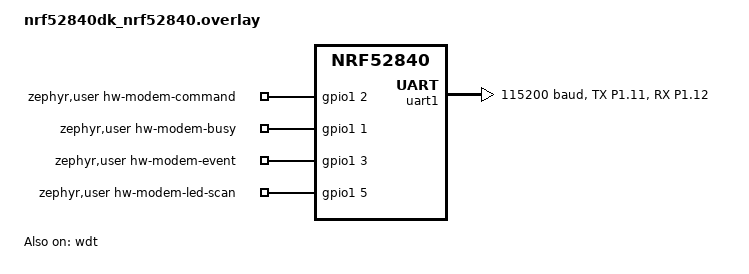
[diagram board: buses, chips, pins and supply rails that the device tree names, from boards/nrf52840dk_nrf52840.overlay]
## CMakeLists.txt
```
# Copyright (c) 2024 Semtech Corporation
# SPDX-License-Identifier: Apache-2.0

cmake_minimum_required(VERSION 3.13.1)

find_package(Zephyr REQUIRED HINTS $ENV{ZEPHYR_BASE})
project(lorawan_hw_modem)

add_subdirectory(src)
```

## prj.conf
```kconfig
# Copyright (c) 2024 Semtech Corporation
# SPDX-License-Identifier: Apache-2.0

CONFIG_USE_SEGGER_RTT=n

# ------------------------------ General configuration -------------------------

# stack size (Zephyr boilerplate + 2048 required by Semtech)
CONFIG_MAIN_STACK_SIZE=4096

# some opereations will be triggered from the system workq, so match above stack size
CONFIG_SYSTEM_WORKQUEUE_STACK_SIZE=4096

# heap size
CONFIG_HEAP_MEM_POOL_SIZE=4096

CONFIG_LOG=y
CONFIG_LOG_BACKEND_UART=y
CONFIG_LOG_BUFFER_SIZE=4096

CONFIG_TEST_RANDOM_GENERATOR=y

CONFIG_SERIAL=y
CONFIG_UART_INTERRUPT_DRIVEN=y

CONFIG_FLASH=y

# ------------------------------ Transceiver driver ----------------------------

CONFIG_LORA_BASICS_MODEM_DRIVERS=y
CONFIG_LORA_BASICS_MODEM_DRIVERS_EVENT_TRIGGER_GLOBAL_THREAD=y

CONFIG_REBOOT=y

# ------------------------------ LoRa Basics Modem -----------------------------

CONFIG_LORA_BASICS_MODEM=y

CONFIG_LORA_BASICS_MODEM_RP2_103=y
CONFIG_LORA_BASICS_MODEM_ENABLE_ALL_REGIONS=y

CONFIG_LORA_BASICS_MODEM_CRYPTOGRAPHY_SOFT=n

CONFIG_LORA_BASICS_MODEM_CLASS_B=y
CONFIG_LORA_BASICS_MODEM_CLASS_C=y
CONFIG_LORA_BASICS_MODEM_MULTICAST=y
CONFIG_LORA_BASICS_MODEM_CSMA=y

CONFIG_LORA_BASICS_MODEM_ALC_SYNC=y
CONFIG_LORA_BASICS_MODEM_ALC_SYNC_V2=y

CONFIG_LORA_BASICS_MODEM_FUOTA=y
CONFIG_LORA_BASICS_MODEM_FUOTA_V1=y
CONFIG_LORA_BASICS_MODEM_FUOTA_FMP=y
CONFIG_LORA_BASICS_MODEM_FUOTA_MPA=y

CONFIG_LORA_BASICS_MODEM_ALMANAC=y
CONFIG_LORA_BASICS_MODEM_STREAM=y
CONFIG_LORA_BASICS_MODEM_LFU=y
CONFIG_LORA_BASICS_MODEM_DEVICE_MANAGEMENT=y
CONFIG_LORA_BASICS_MODEM_GEOLOCATION=y
CONFIG_LORA_BASICS_MODEM_STORE_AND_FORWARD=y
# CONFIG_LORA_BASICS_MODEM_BEACON_TX=y
CONFIG_LORA_BASICS_MODEM_RELAY_RX=y
CONFIG_LORA_BASICS_MODEM_RELAY_TX=y
```

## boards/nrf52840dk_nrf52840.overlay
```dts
/*
 * Copyright (c) 2024 Semtech Corporation
 *
 * SPDX-License-Identifier: Apache-2.0
 */

/ {
	zephyr,user {
		/* PINS used for the HW modem sample. */
		hw-modem-command-gpios = <&gpio1 2 (GPIO_ACTIVE_HIGH | GPIO_PULL_UP)>;
		hw-modem-busy-gpios = <&gpio1 1 GPIO_ACTIVE_HIGH>;
		hw-modem-event-gpios = <&gpio1 3 GPIO_ACTIVE_HIGH>;
		hw-modem-led-scan-gpios = <&gpio1 5 GPIO_ACTIVE_HIGH>;
	};

	aliases {
		/* Specify which UART is used for communication as input for the hw modem tester */
		smtc-hal-uart = &uart1;
		smtc-watchdog = &wdt;
	};
};

&spi1 {
	status = "disabled";
};
&qspi {
	status = "disabled";
};

&uart1 {
	status = "okay";

	current-speed = <115200>;

	pinctrl-0 = <&uart1_default_alt>;
	pinctrl-1 = <&uart1_sleep_alt>;
	pinctrl-names = "default", "sleep";
	/delete-property/ hw-flow-control;
};

&pinctrl {
	uart1_default_alt: uart1_default_alt {
		group1 {
			psels = <NRF_PSEL(UART_TX, 1, 11)>, <NRF_PSEL(UART_RX, 1, 12)>;
		};
	};

	uart1_sleep_alt: uart1_sleep_alt {
		group1 {
			psels = <NRF_PSEL(UART_TX, 1, 11)>, <NRF_PSEL(UART_RX, 1, 12)>;
			low-power-enable;
		};
	};
};

&wdt {
	status = "okay";
};
```

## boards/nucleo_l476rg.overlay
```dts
/*
 * Copyright (c) 2024 Semtech Corporation
 *
 * SPDX-License-Identifier: Apache-2.0
 */

/ {
	zephyr,user {
		/* PINS used for the HW modem sample. */
		hw-modem-command-gpios = <&gpioc 6 (GPIO_ACTIVE_HIGH | GPIO_PULL_UP)>;
		hw-modem-busy-gpios = <&gpioc 8 GPIO_ACTIVE_HIGH>;
		hw-modem-event-gpios = <&gpioc 5 GPIO_ACTIVE_HIGH>;
		hw-modem-led-scan-gpios = <&gpiob 5 GPIO_ACTIVE_HIGH>;
	};

	aliases {
		/* Specify which UART is used for communication as input for the hw modem tester */
		smtc-hal-uart = &usart3;
		smtc-watchdog = &iwdg;
	};
};

&spi3 {
	status = "disabled";
};

&usart3 {
	status = "okay";

	current-speed = <115200>;

	pinctrl-0 = <&usart3_rx_pc11 &usart3_tx_pc10>;
	pinctrl-names = "default";
	/delete-property/ hw-flow-control;
};

&iwdg {
	status = "disabled";
};
```

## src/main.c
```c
/*
 * Copyright (c) 2024 Semtech Corporation
 *
 * SPDX-License-Identifier: Apache-2.0
 */

#include <stdbool.h>
#include <stdint.h>
#include <zephyr/kernel.h>
#include <zephyr/irq.h>
#include <zephyr/logging/log.h>

#include <zephyr/lorawan_lbm/lorawan_hal_init.h>
#include <smtc_modem_utilities.h>

#include "hw_modem.h"
#include "cmd_parser.h"
#include "git_version.h"

LOG_MODULE_REGISTER(hw_modem, 3);

/**
 * @brief Watchdog counter reload value during sleep (The period must be lower than MCU watchdog
 * period (here 32s))
 */
#define WATCHDOG_RELOAD_PERIOD_MS 20000

/* lr11xx radio context and its use in the ralf layer */
static const struct device *transceiver = DEVICE_DT_GET(DT_ALIAS(lora_transceiver));

/**
 * @brief Callback for modem hal
 */
static uint8_t prv_get_battery_level_cb(void)
{
	return 98;
}

/**
 * @brief Callback for modem hal
 */
static uint16_t prv_get_battery_voltage_cb(void)
{
	return 3300;
}

/**
 * @brief Callback for modem hal
 */
static int8_t prv_get_temperature_cb(void)
{
	return 25;
}

#ifdef CONFIG_LORA_BASICS_MODEM_FUOTA
static uint32_t prv_get_hw_version_for_fuota(void)
{
	return 1;
}

static uint32_t prv_get_fw_version_for_fuota(void)
{
	return 1;
}

static uint8_t prv_get_fw_status_available_for_fuota(void)
{
	return 1;
}

static uint32_t prv_get_next_fw_version_for_fuota(void)
{
	return 1;
}

static uint8_t prv_get_fw_delete_status_for_fuota(uint32_t version)
{
	return 0;
}

/* Callbacks for HAL implementation */
static struct lorawan_fuota_cb prv_fuota_cb = {
	.get_hw_version = prv_get_hw_version_for_fuota,
	.get_fw_version = prv_get_fw_version_for_fuota,
	.get_fw_status_available = prv_get_fw_status_available_for_fuota,
	.get_next_fw_version = prv_get_next_fw_version_for_fuota,
	.get_fw_delete_status = prv_get_fw_delete_status_for_fuota,
};

#endif /* CONFIG_LORA_BASICS_MODEM_FUOTA */

void main_hw_modem(void);

int main(void)
{
	unsigned int irq_lock_key;
	uint32_t sleep_time_ms = 0;
	bool is_sleep_ok;

	smtc_modem_set_radio_context(transceiver);
	lorawan_smtc_modem_hal_init(transceiver);
	lorawan_register_battery_level_callback(prv_get_battery_level_cb);
	lorawan_register_battery_voltage_callback(prv_get_battery_voltage_cb);
	lorawan_register_temperature_callback(prv_get_temperature_cb);
#ifdef CONFIG_LORA_BASICS_MODEM_FUOTA
	lorawan_register_fuota_callbacks(&prv_fuota_cb);
#endif

	cmd_parser_set_transceiver_context((void *)transceiver);

	/* NOTE: watchdogs aren't fully implemented in those samples. */
	/* hal_watchdog_init(); */

	if (hw_modem_init()) {
		LOG_ERR("Could not initialize hardware modem, exiting.");
		return 0;
	}

	LOG_INF("Modem is starting");
	LOG_DBG("Commit SHA1: %s", get_software_git_commit());
	LOG_DBG("Commit date: %s", get_software_git_date());
	LOG_DBG("Build date: %s", get_software_build_date());

	while (1) {
		/* Check if a command is available */
		if (hw_modem_is_a_cmd_available() == true) {
			/* Command may generate work for the stack, so drop down to
			 * smtc_modem_run_engine().
			 */
			hw_modem_process_cmd();
		}

		/* Modem process launch */
		sleep_time_ms = smtc_modem_run_engine();

		/* Check sleep conditions (no command available and low power is possible) */
		irq_lock_key = irq_lock();
		is_sleep_ok = (hw_modem_is_a_cmd_available() == false) &&
			      (hw_modem_is_low_power_ok() == true) &&
			      (smtc_modem_is_irq_flag_pending() == false);
		irq_unlock(irq_lock_key);

		if (is_sleep_ok) {
			uint32_t real_sleep_time_ms = MIN(sleep_time_ms, WATCHDOG_RELOAD_PERIOD_MS);

			LOG_DBG("Sleeping for %d ms", real_sleep_time_ms);
			smtc_modem_hal_interruptible_msleep(K_MSEC(real_sleep_time_ms));
		}
	}
	return 0;
}
```

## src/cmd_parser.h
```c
/*
 * Copyright (c) 2024 Semtech Corporation
 *
 * SPDX-License-Identifier: Apache-2.0
 */

#ifndef CMD_PARSER_H__
#define CMD_PARSER_H__

#include <stdint.h>

#include "smtc_modem_api.h"

#ifdef __cplusplus
extern "C" {
#endif

/**
 * @brief Host command opcode definition
 */
typedef enum host_cmd_id_e {
	CMD_RESET = 0x00,
	CMD_SET_REGION = 0x01,
	CMD_GET_REGION = 0x02,
	CMD_JOIN_NETWORK = 0x03,
	CMD_REQUEST_UPLINK = 0x04,
	CMD_GET_EVENT = 0x05,
	CMD_GET_DOWNLINK_DATA = 0x06,
	CMD_GET_DOWNLINK_METADATA = 0x07,
	CMD_GET_JOIN_EUI = 0x08,
	CMD_SET_JOIN_EUI = 0x09,
	CMD_GET_DEV_EUI = 0x0A,
	CMD_SET_DEV_EUI = 0x0B,
	CMD_SET_NWKKEY = 0x0C,
	CMD_GET_PIN = 0x0D,
	CMD_GET_CHIP_EUI = 0x0E,
	CMD_DERIVE_KEYS = 0x0F,
	CMD_GET_MODEM_VERSION = 0x10,
	CMD_LORAWAN_GET_LOST_CONNECTION_COUNTER = 0x11,
	CMD_SET_CERTIFICATION_MODE = 0x12,
	CMD_EMERGENCY_UPLINK = 0x13,
	CMD_REQUEST_EMPTY_UPLINK = 0x14,
	CMD_LEAVE_NETWORK = 0x15,
	CMD_ALARM_START_TIMER = 0x16,
	CMD_ALARM_CLEAR_TIMER = 0x17,
	CMD_ALARM_GET_REMAINING_TIME = 0x18,
	CMD_GET_NEXT_TX_MAX_PAYLOAD = 0x19,
	CMD_GET_DUTY_CYCLE_STATUS = 0x1A,
	CMD_SET_NETWORK_TYPE = 0x1B,
	CMD_SET_JOIN_DR_DISTRIBUTION = 0x1C,
	CMD_SET_ADR_PROFILE = 0x1D,
	CMD_SET_NB_TRANS = 0x1E,
	CMD_GET_NB_TRANS = 0x1F,
	CMD_GET_ENABLED_DATARATE = 0x20,
	CMD_SET_ADR_ACK_LIMIT_DELAY = 0x21,
	CMD_GET_ADR_ACK_LIMIT_DELAY = 0x22,
	CMD_SET_CRYSTAL_ERR = 0x23,
	CMD_LBT_SET_PARAMS = 0x24,
	CMD_LBT_GET_PARAMS = 0x25,
	CMD_LBT_SET_STATE = 0x26,
	CMD_LBT_GET_STATE = 0x27,
	CMD_GET_CHARGE = 0x28,
	CMD_RESET_CHARGE = 0x29,
	CMD_SET_CLASS = 0x2A,
	CMD_CLASS_B_SET_PING_SLOT_PERIODICITY = 0x2B,
	CMD_CLASS_B_GET_PING_SLOT_PERIODICITY = 0x2C,
	CMD_MULTICAST_SET_GROUP_CONFIG = 0x2D,
	CMD_MULTICAST_GET_GROUP_CONFIG = 0x2E,
	CMD_MULTICAST_CLASS_C_START_SESSION = 0x2F,
	CMD_MULTICAST_CLASS_C_GET_SESSION_STATUS = 0x30,
	CMD_MULTICAST_CLASS_C_STOP_SESSION = 0x31,
	CMD_MULTICAST_CLASS_C_STOP_ALL_SESSIONS = 0x32,
	CMD_MULTICAST_CLASS_B_START_SESSION = 0x33,
	CMD_MULTICAST_CLASS_B_GET_SESSION_STATUS = 0x34,
	CMD_MULTICAST_CLASS_B_STOP_SESSION = 0x35,
	CMD_MULTICAST_CLASS_B_STOP_ALL_SESSIONS = 0x36,
	CMD_START_ALCSYNC_SERVICE = 0x37,
	CMD_STOP_ALCSYNC_SERVICE = 0x38,
	CMD_GET_ALCSYNC_TIME = 0x39,
	CMD_TRIG_ALCSYNC_REQUEST = 0x3A,
	CMD_LORAWAN_MAC_REQUEST = 0x3B,
	CMD_GET_LORAWAN_TIME = 0x3C,
	CMD_GET_LINK_CHECK_DATA = 0x3D,
	CMD_SET_DUTY_CYCLE_STATE = 0x3E,
	CMD_DEBUG_CONNECT_WITH_ABP = 0x3F,
	CMD_TEST = 0x40,
	CMD_SET_TX_POWER_OFFSET = 0x41,
	CMD_GET_TX_POWER_OFFSET = 0x42,
	CMD_CSMA_SET_STATE = 0x43,
	CMD_CSMA_GET_STATE = 0x44,
	CMD_CSMA_SET_PARAMETERS = 0x45,
	CMD_CSMA_GET_PARAMETERS = 0x46,
	CMD_STREAM_INIT = 0x47,
	CMD_STREAM_ADD_DATA = 0x48,
	CMD_STREAM_STATUS = 0x49,
	CMD_LFU_INIT = 0x4A,
	CMD_LFU_DATA = 0x4B,
	CMD_LFU_START = 0x4C,
	CMD_LFU_RESET = 0x4D,
	CMD_DM_ENABLE = 0x4E,
	CMD_DM_GET_PORT = 0x4F,
	CMD_DM_SET_PORT = 0x50,
	CMD_DM_GET_INFO_INTERVAL = 0x51,
	CMD_DM_SET_INFO_INTERVAL = 0x52,
	CMD_DM_GET_PERIODIC_INFO_FIELDS = 0x53,
	CMD_DM_SET_PERIODIC_INFO_FIELDS = 0x54,
	CMD_DM_REQUEST_IMMEDIATE_INFO_FIELDS = 0x55,
	CMD_DM_SET_USER_DATA = 0x56,
	CMD_DM_GET_USER_DATA = 0x57,
	CMD_GET_STATUS = 0x58,
	CMD_SUSPEND_RADIO_COMMUNICATIONS = 0x59,
	CMD_DM_HANDLE_ALCSYNC = 0x5A,
	CMD_SET_APPKEY = 0x5B,
	CMD_GET_ADR_PROFILE = 0x5C,
	CMD_GET_CERTIFICATION_MODE = 0x5D,
#if (defined(STM32L476xx) || defined(NRF52840_XXAA))
	CMD_STORE_AND_FORWARD_SET_STATE = 0x5E,
	CMD_STORE_AND_FORWARD_GET_STATE = 0x5F,
	CMD_STORE_AND_FORWARD_ADD_DATA = 0x60,
	CMD_STORE_AND_FORWARD_CLEAR_DATA = 0x61,
	CMD_STORE_AND_FORWARD_GET_FREE_SLOT = 0x62,
#endif /* STM32L476xx */
#if defined(CONFIG_LORA_BASICS_MODEM_GEOLOCATION) &&                                               \
	(defined(STM32L476xx) || defined(NRF52840_XXAA))
	CMD_GNSS_SCAN = 0x70,
	CMD_GNSS_SCAN_CANCEL = 0x71,
	CMD_GNSS_GET_EVENT_DATA_SCAN_DONE = 0x72,
	CMD_GNSS_GET_SCAN_DONE_RAW_DATA_LIST = 0x73,
	CMD_GNSS_GET_SCAN_DONE_METADATA_LIST = 0x74,
	CMD_GNSS_GET_SCAN_DONE_SCAN_SV = 0x75,
	CMD_GNSS_GET_EVENT_DATA_TERMINATED = 0x76,
	CMD_GNSS_SET_CONST = 0x77,
	CMD_GNSS_SET_PORT = 0x78,
	CMD_GNSS_SCAN_AGGREGATE = 0x79,
	CMD_GNSS_SEND_MODE = 0x7A,
	CMD_GNSS_ALM_DEMOD_START = 0x7B,
	CMD_GNSS_ALM_DEMOD_SET_CONSTEL = 0x7C,
	CMD_GNSS_ALM_DEMOD_GET_EVENT_DATA_ALM_UPD = 0x7D,
	CMD_CLOUD_ALMANAC_START = 0x7E,
	CMD_CLOUD_ALMANAC_STOP = 0x7F,
	CMD_WIFI_SCAN_START = 0x80,
	CMD_WIFI_SCAN_CANCEL = 0x81,
	CMD_WIFI_GET_SCAN_DONE_SCAN_DATA = 0x82,
	CMD_WIFI_GET_EVENT_DATA_TERMINATED = 0x83,
	CMD_WIFI_SET_PORT = 0x84,
	CMD_WIFI_SEND_MODE = 0x85,
	CMD_WIFI_SET_PAYLOAD_FORMAT = 0x86,
	CMD_LR11XX_RADIO_READ = 0x90,
	CMD_LR11XX_RADIO_WRITE = 0x91,
#endif /* ADD_APP_GEOLOCATION && STM32L476xx */
	CMD_SET_RTC_OFFSET = 0x92,
#if defined(CONFIG_LORA_BASICS_MODEM_RELAY_TX)
	CMD_SET_RELAY_CONFIG = 0x93,
	CMD_GET_RELAY_CONFIG = 0x94,
#endif
	CMD_GET_SUSPEND_RADIO_COMMUNICATIONS = 0x95,
	CMD_GET_BYPASS_JOIN_DUTY_CYCLE_BACKOFF = 0x96,
	CMD_SET_BYPASS_JOIN_DUTY_CYCLE_BACKOFF = 0x97,
	CMD_MODEM_GET_CRASHLOG = 0x98,
	CMD_MAX
} host_cmd_id_t;

/**
 * @brief Host test command opcode definition
 */
typedef enum host_cmd_test_id_e {
	CMD_TST_START = 0x00,
	CMD_TST_EXIT = 0x01,
	CMD_TST_NOP = 0x02,
	CMD_TST_TX_LORA = 0x03,
	CMD_TST_TX_FSK = 0x04,
	CMD_TST_TX_LRFHSS = 0x05,
	CMD_TST_TX_CW = 0x06,
	CMD_TST_RX_LORA = 0x07,
	CMD_TST_RX_FSK_CONT = 0x08,
	CMD_TST_READ_NB_PKTS_RX = 0x09,
	CMD_TST_READ_LAST_RX_PKT = 0x0A,
	CMD_TST_RSSI = 0x0B,
	CMD_TST_RSSI_GET = 0x0C,
	CMD_TST_RADIO_RST = 0x0D,
	CMD_TST_BUSYLOOP = 0x0E,
	CMD_TST_PANIC = 0x0F,
	CMD_TST_WATCHDOG = 0x10,
	CMD_TST_RADIO_READ = 0x11,
	CMD_TST_RADIO_WRITE = 0x12,
	CMD_TST_MAX
} host_cmd_test_id_t;

/**
 * @brief Command parser serial return code
 */
typedef enum cmd_serial_rc_code_e {
	CMD_RC_OK = 0x00,
	CMD_RC_UNKNOWN = 0x01,
	CMD_RC_NOT_IMPLEMENTED = 0x02,
	CMD_RC_NOT_INIT = 0x03,
	CMD_RC_INVALID = 0x04,
	CMD_RC_BUSY = 0x05,
	CMD_RC_FAIL = 0x06,
	CMD_RC_BAD_CRC = 0x08,
	CMD_RC_BAD_SIZE = 0x0A,
	CMD_RC_FRAME_ERROR = 0x0F,
	CMD_RC_NO_TIME = 0x10,
	CMD_RC_INVALID_STACK_ID = 0x11,
	CMD_RC_NO_EVENT = 0x12,
} cmd_serial_rc_code_t;

/**
 * @brief Input command structure
 */
typedef struct cmd_input_e {
	host_cmd_id_t cmd_code;
	uint8_t length;
	uint8_t *buffer;
} cmd_input_t;

/**
 * @brief Command response struture
 */
typedef struct cmd_response_e {
	cmd_serial_rc_code_t return_code;
	uint8_t length;
	uint8_t *buffer;
} cmd_response_t;

/**
 * @brief Input test command structure
 */
typedef struct cmd_tst_response_e {
	cmd_serial_rc_code_t return_code;
	uint8_t length;
	uint8_t *buffer;
} cmd_tst_response_t;

/**
 * @brief Test command response struture
 */
typedef struct cmd_tst_input_e {
	host_cmd_test_id_t cmd_code;
	uint8_t length;
	uint8_t *buffer;
} cmd_tst_input_t;

/**
 * @brief Command parser status
 */
typedef enum cmd_parse_status_e {
	PARSE_ERROR,
	PARSE_OK,
} cmd_parse_status_t;

/**
 * @brief Parse command received on serial link
 *
 * @param [in]  cmd_input  Contains the command received
 * @param [out] cmd_output Contains the response to the received command
 * @return cmd_parse_status_t
 */
cmd_parse_status_t parse_cmd(cmd_input_t *cmd_input, cmd_response_t *cmd_output);

/**
 * @brief Parse test command received on serial link
 *
 * @param [in] cmd_tst_input   Contains the command received
 * @param [out] cmd_tst_output Contains the response to the received command
 * @return cmd_parse_status_t
 */
cmd_parse_status_t cmd_test_parser(cmd_tst_input_t *cmd_tst_input,
				   cmd_tst_response_t *cmd_tst_output);

/* Workaround for internal calls requiring a pointer to the transceiver context */

void cmd_parser_set_transceiver_context(void *context);

#ifdef __cplusplus
}
#endif

#endif /* CMD_PARSER_H__ */
```

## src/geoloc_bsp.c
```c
/*
 * Copyright (c) 2024 Semtech Corporation
 *
 * SPDX-License-Identifier: Apache-2.0
 */

#include <zephyr/kernel.h>
#include <zephyr/drivers/gpio.h>

#include "geolocation_bsp.h"

static const struct gpio_dt_spec hw_modem_led_scan_gpios =
	GPIO_DT_SPEC_GET(DT_PATH(zephyr_user), hw_modem_led_scan_gpios);

void geolocation_bsp_gnss_prescan_actions(void)
{
	gpio_pin_set_dt(&hw_modem_led_scan_gpios, 1);
}

void geolocation_bsp_gnss_postscan_actions(void)
{
	gpio_pin_set_dt(&hw_modem_led_scan_gpios, 0);
}

void geolocation_bsp_wifi_prescan_actions(void)
{
	gpio_pin_set_dt(&hw_modem_led_scan_gpios, 1);
}

void geolocation_bsp_wifi_postscan_actions(void)
{
	gpio_pin_set_dt(&hw_modem_led_scan_gpios, 0);
}

lr11xx_system_lfclk_cfg_t geolocation_bsp_get_lr11xx_lf_clock_cfg(void)
{
	return LR11XX_SYSTEM_LFCLK_XTAL;
}

void geolocation_bsp_get_lr11xx_reg_mode(const void *context, lr11xx_system_reg_mode_t *reg_mode)
{
	*reg_mode = LR11XX_SYSTEM_REG_MODE_DCDC;
}

void geolocation_bsp_gnss_get_consumption(
	lr11xx_gnss_instantaneous_power_consumption_ua_t *instantaneous_power_consumption_ua)
{
	/* These value are for EVK board in DC DC mode with Xtal 32KHz and a TCXO 32MHz*/
	instantaneous_power_consumption_ua->board_voltage_mv = 3300;
	instantaneous_power_consumption_ua->init_ua = 3150;
	instantaneous_power_consumption_ua->phase1_gps_capture_ua = 11900;
	instantaneous_power_consumption_ua->phase1_gps_process_ua = 3340;
	instantaneous_power_consumption_ua->multiscan_gps_capture_ua = 10700;
	instantaneous_power_consumption_ua->multiscan_gps_process_ua = 4180;
	instantaneous_power_consumption_ua->phase1_beidou_capture_ua = 13500;
	instantaneous_power_consumption_ua->phase1_beidou_process_ua = 3190;
	instantaneous_power_consumption_ua->multiscan_beidou_capture_ua = 12600;
	instantaneous_power_consumption_ua->multiscan_beidou_process_ua = 3430;
	instantaneous_power_consumption_ua->sleep_32k_ua = 1210;
	instantaneous_power_consumption_ua->demod_sleep_32m_ua = 2530;
}
```

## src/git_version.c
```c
/*
 * Copyright (c) 2024 Semtech Corporation
 *
 * SPDX-License-Identifier: Apache-2.0
 */

#include "git_version.h"

const char *get_software_git_version(void)
{
	return GIT_VERSION;
}

const char *get_software_git_commit(void)
{
	return GIT_COMMIT;
}

const char *get_software_git_date(void)
{
	return GIT_DATE;
}

const char *get_software_build_date(void)
{
	return __DATE__;
}
```

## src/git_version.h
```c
/*
 * Copyright (c) 2024 Semtech Corporation
 *
 * SPDX-License-Identifier: Apache-2.0
 */

#ifndef GIT_VERSION_H
#define GIT_VERSION_H

#ifdef __cplusplus
extern "C" {
#endif

#ifndef GIT_VERSION
#define GIT_VERSION "unknown"
#endif

#ifndef GIT_COMMIT
#define GIT_COMMIT "unknown"
#endif

#ifndef GIT_DATE
#define GIT_DATE "unknown"
#endif

#ifndef BUILD_DATE
#define BUILD_DATE "unknown"
#endif

const char *get_software_git_version(void);
const char *get_software_git_commit(void);
const char *get_software_git_date(void);
const char *get_software_build_date(void);

#ifdef __cplusplus
}
#endif

#endif /* GIT_VERSION_H */
```

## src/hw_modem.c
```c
/*
 * Copyright (c) 2024 Semtech Corporation
 *
 * SPDX-License-Identifier: Apache-2.0
 */

#include <stdint.h>
#include <stdbool.h>
#include <string.h>

#include <zephyr/kernel.h>
#include <zephyr/logging/log.h>
#include <zephyr/drivers/gpio.h>
#include <zephyr/drivers/uart.h>

#include <zephyr/lorawan_lbm/lorawan_hal_init.h>
#include "smtc_modem_utilities.h"

#include "hw_modem.h"
#include "cmd_parser.h"

LOG_MODULE_DECLARE(hw_modem, 3);

#define HW_MODEM_RX_BUFF_MAX_LENGTH 261

typedef enum {
	HW_MODEM_LP_ENABLE,
	HW_MODEM_LP_DISABLE_ONCE,
	HW_MODEM_LP_DISABLE,
} hw_modem_lp_mode_t;

static uint8_t modem_received_buff[HW_MODEM_RX_BUFF_MAX_LENGTH];
static size_t received_length;
static uint8_t modem_response_buff[HW_MODEM_RX_BUFF_MAX_LENGTH];
static size_t response_length;
static volatile bool hw_cmd_available;
static volatile bool is_hw_modem_ready_to_receive = true;
static hw_modem_lp_mode_t lp_mode = HW_MODEM_LP_ENABLE;

static const struct gpio_dt_spec hw_modem_event_gpios =
	GPIO_DT_SPEC_GET(DT_PATH(zephyr_user), hw_modem_event_gpios);
static const struct gpio_dt_spec hw_modem_busy_gpios =
	GPIO_DT_SPEC_GET(DT_PATH(zephyr_user), hw_modem_busy_gpios);
static const struct gpio_dt_spec hw_modem_command_gpios =
	GPIO_DT_SPEC_GET(DT_PATH(zephyr_user), hw_modem_command_gpios);
static const struct gpio_dt_spec hw_modem_led_scan_gpios =
	GPIO_DT_SPEC_GET(DT_PATH(zephyr_user), hw_modem_led_scan_gpios);

static const struct device *hw_modem_uart = DEVICE_DT_GET(DT_ALIAS(smtc_hal_uart));

/**
 * @brief prepare and start the reception of the command on a uart using a dma
 * @param [none]
 * @return [none]
 */
void hw_modem_start_reception(void);

/**
 * @brief function that will be called every time the COMMAND line in asserted or de-asserted by the
 * host
 * @param *context  unused context
 * @return none
 */
void wakeup_line_irq_handler(const struct device *port, struct gpio_callback *cb,
			     gpio_port_pins_t pins);

/**
 * @brief function that will be called by the soft modem engine each time an async event is
 * available
 * @param *context  unused context
 * @return none
 */
void hw_modem_event_handler(void);
struct gpio_callback command_callback;

int hw_modem_init(void)
{
	int ret;

	/* init hw modem pins */
	ret = gpio_pin_configure_dt(&hw_modem_event_gpios, GPIO_OUTPUT_INACTIVE);
	if (ret) {
		printk("Error %d: failed to configure %s pin %d\n", ret,
		       hw_modem_event_gpios.port->name, hw_modem_event_gpios.pin);
		return ret;
	}
	ret = gpio_pin_configure_dt(&hw_modem_busy_gpios, GPIO_OUTPUT_ACTIVE);
	if (ret) {
		printk("Error %d: failed to configure %s pin %d\n", ret,
		       hw_modem_busy_gpios.port->name, hw_modem_busy_gpios.pin);
		return ret;
	}

	/* init LEDs */
	ret = gpio_pin_configure_dt(&hw_modem_led_scan_gpios, GPIO_OUTPUT_INACTIVE);
	if (ret) {
		printk("Error %d: failed to configure %s pin %d\n", ret,
		       hw_modem_led_scan_gpios.port->name, hw_modem_led_scan_gpios.pin);
		return ret;
	}

	/* init irq on COMMAND pin */
	gpio_pin_configure_dt(&hw_modem_command_gpios, GPIO_INPUT | GPIO_PULL_UP);
	ret = gpio_pin_interrupt_configure_dt(&hw_modem_command_gpios, GPIO_INT_ENABLE | GPIO_INT_EDGE_BOTH);
	if (ret) {
		printk("Error %d: failed to configure interrupt on %s pin %d\n", ret,
		       hw_modem_command_gpios.port->name, hw_modem_command_gpios.pin);
		return ret;
	}

	gpio_init_callback(&command_callback, wakeup_line_irq_handler,
			   BIT(hw_modem_command_gpios.pin));
	ret = gpio_add_callback_dt(&hw_modem_command_gpios, &command_callback);
	if (ret) {
		printk("Error %d: failed to add interrupt on %s pin %d\n", ret,
		       hw_modem_command_gpios.port->name, hw_modem_command_gpios.pin);
		return ret;
	}

	if (!device_is_ready(hw_modem_uart)) {
		printk("Hardware modem UART is not ready!");
		return 1;
	}

	memset(modem_response_buff, 0, HW_MODEM_RX_BUFF_MAX_LENGTH);
	hw_cmd_available = false;
	is_hw_modem_ready_to_receive = true;

	/* init the soft modem */
	smtc_modem_init(&hw_modem_event_handler);

#if defined(PERF_TEST_ENABLED)
	LOG_WRN("HARDWARE MODEM RUNNING PERF TEST MODE");
#endif
	return 0;
}


static void uart_irq_rx_callback_handler(const struct device *dev, void *user_data)
{
	ARG_UNUSED(user_data);
	uint8_t c;

	if (!uart_irq_update(dev)) {
		return;
	}

	if (!uart_irq_rx_ready(dev)) {
		return;
	}

	int status = uart_err_check(dev);
	if (status > 0) {
		LOG_ERR("UART error detected: %d", status);
	}

	/* read until FIFO empty */
	while (uart_fifo_read(dev, &c, 1) == 1) {
		if (received_length == HW_MODEM_RX_BUFF_MAX_LENGTH) {
			LOG_ERR("Received more data than the buffer can hold!");
		} else {
			modem_received_buff[received_length++] = c;
		}
	}
}


void hw_modem_start_reception(void)
{
	memset(modem_received_buff, 0xFF, HW_MODEM_RX_BUFF_MAX_LENGTH);
	received_length = 0;

	/* during the receive process the hw modem cannot accept an other cmd, prevent it */
	is_hw_modem_ready_to_receive = false;

	uart_irq_callback_user_data_set(hw_modem_uart, uart_irq_rx_callback_handler, NULL);
	uart_irq_rx_enable(hw_modem_uart);

	/* indicate to bridge or host that the modem is ready to receive on uart */
	gpio_pin_set_dt(&hw_modem_busy_gpios, 0);
}

void hw_modem_process_cmd(void)
{
	uint8_t cmd_length = 0xFF;
	cmd_response_t output;
	cmd_input_t input;
	cmd_serial_rc_code_t rc_code;

	/* check if not false detection (0xFF is default filled buff value) */
	if (modem_received_buff[0] < 0xFF) {
		cmd_length = modem_received_buff[1];
		uint8_t crc = 0;

		for (int i = 0; i < cmd_length + 2; i++) {
			crc = crc ^ modem_received_buff[i];
		}
		uint8_t calculated_crc = crc;
		uint8_t cmd_crc = modem_received_buff[cmd_length + 2];
		uint8_t cmd_id = modem_received_buff[0];

		if (calculated_crc != cmd_crc) {
			rc_code = CMD_RC_FRAME_ERROR;
			response_length = 0;
			LOG_ERR("Cmd with bad crc %x / %x", calculated_crc, cmd_crc);
		} else if ((modem_received_buff[cmd_length + 3] != 0xFF) && (cmd_length != 0xFF)) {
			/* Too Many cmd enqueued */
			rc_code = CMD_RC_FRAME_ERROR;
			response_length = 0;
			LOG_WRN(" Extra data after the command");
		} else {
			/* go into soft modem */
			LOG_HEXDUMP_INF(modem_received_buff, cmd_length + 2, "Cmd input uart");
			input.cmd_code = cmd_id;
			input.length = cmd_length;
			input.buffer = &modem_received_buff[2];
			output.buffer = &modem_response_buff[2];
			parse_cmd(&input, &output);
			rc_code = output.return_code;
			response_length = output.length;
		}

		modem_response_buff[0] = rc_code;
		modem_response_buff[1] = response_length;

		LOG_HEXDUMP_INF(modem_response_buff, response_length + 2, "Cmd output on uart");

		/* now the hw modem can accept new commands */
		is_hw_modem_ready_to_receive = true;
		hw_cmd_available = false;

		/* set busy pin to indicate to bridge or host that the hw_modem answer
		 * will be soon sent
		 */
		gpio_pin_set_dt(&hw_modem_busy_gpios, 1);

		/* wait to bridge delay */
		k_usleep(1000);

		for (int i = 0; i < response_length + 2; i++) {
			crc = crc ^ modem_response_buff[i];
		}
		modem_response_buff[response_length + 2] = crc;

		/* Blocking send */
		for (size_t i = 0; i < response_length + 3; i++) {
			uart_poll_out(hw_modem_uart, modem_response_buff[i]);
		}
	} else {
		/* now the hw modem can accept new commands */
		is_hw_modem_ready_to_receive = true;
		hw_cmd_available = false;

		/* set busy pin to indicate to bridge or host that the hw_modem answer
		 * will be soon sent
		 */
		gpio_pin_set_dt(&hw_modem_busy_gpios, 1);
	}
}

bool hw_modem_is_a_cmd_available(void)
{
	return hw_cmd_available;
}

bool hw_modem_is_low_power_ok(void)
{
	if (lp_mode == HW_MODEM_LP_ENABLE) {
		return true;
	} else if (lp_mode == HW_MODEM_LP_DISABLE_ONCE) {
		/* next time lp  will be ok */
		lp_mode = HW_MODEM_LP_ENABLE;
		return false;
	} else {
		return false;
	}
}

void wakeup_line_irq_handler(const struct device *port, struct gpio_callback *cb,
			     gpio_port_pins_t pins)
{
	if (is_hw_modem_ready_to_receive && gpio_pin_get_dt(&hw_modem_command_gpios) == 0) {
		/* start receiving uart with dma */
		hw_modem_start_reception();

		/* force exit of stop mode */
		lp_mode = HW_MODEM_LP_DISABLE;
	}

	if (!is_hw_modem_ready_to_receive && gpio_pin_get_dt(&hw_modem_command_gpios) == 1) {
		/* stop uart on dma reception */
		uart_irq_rx_disable(hw_modem_uart);

		/* inform that a command has arrived */
		hw_cmd_available = true;

		/* wake up thread to process the command */
		smtc_modem_hal_wake_up();

		/* force one more loop in main loop and then re-enable low power feature */
		lp_mode = HW_MODEM_LP_DISABLE_ONCE;
	}
}

void hw_modem_event_handler(void)
{
	/* raise the event line to indicate to host that events are available */
	gpio_pin_set_dt(&hw_modem_event_gpios, 1);
	smtc_modem_hal_wake_up();
	LOG_INF("Event available");
}
```

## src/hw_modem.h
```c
/*
 * Copyright (c) 2024 Semtech Corporation
 *
 * SPDX-License-Identifier: Apache-2.0
 */

#ifndef HW_MODEM_H__
#define HW_MODEM_H__

#include <stdbool.h>

#ifdef __cplusplus
extern "C" {
#endif

/**
 * @brief Init the hw_modem. It takes care of all hw part of the modem and the init of the soft
 * modem part
 */
int hw_modem_init(void);

/**
 * @brief Process the latest received command
 */
void hw_modem_process_cmd(void);

/**
 * @brief Indicates if a command is ready to by processed
 *
 * @return true if a command is ready to by processed, false otherwise
 */
bool hw_modem_is_a_cmd_available(void);

/**
 * @brief Indicates if main application can go in low power
 *
 * @return true/false
 */
bool hw_modem_is_low_power_ok(void);

#ifdef __cplusplus
}
#endif

#endif /* HW_MODEM_H__ */
```
